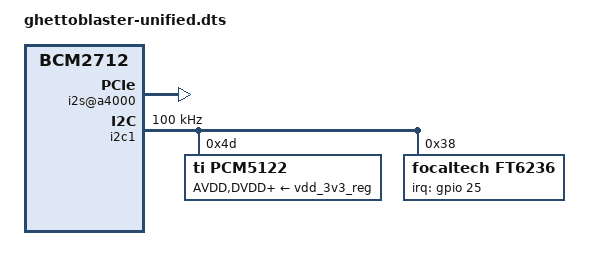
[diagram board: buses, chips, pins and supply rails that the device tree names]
/dts-v1/;
/plugin/;

// Unified Ghettoblaster Overlay for Raspberry Pi 5
// Combines: HiFiBerry AMP100 + FT6236 Touch + Optimizations
//
// Hardware:
// - HiFiBerry AMP100 (PCM5122 DAC at I2C 0x4d)
// - FT6236 Touch Controller (I2C 0x38)
// - Waveshare 7.9" 400x1280 Display
//
// Features:
// - Auto-mute on AMP100
// - Stable I2C clock (100kHz)
// - Touch with correct orientation
// - No reset-gpio conflicts

/ {
    compatible = "brcm,bcm2712";

    // Fragment 0: Clock generator for PCM5122
    fragment@0 {
        target-path = "/";
        __overlay__ {
            dacpro_osc: dacpro_osc {
                compatible = "hifiberry,dacpro-clk";
                #clock-cells = <0>;
            };
        };
    };

    // Fragment 1: Enable I2S controller (Pi 5 specific)
    fragment@1 {
        target-path = "/axi/pcie@1000120000/rp1/i2s@a4000";
        __overlay__ {
            status = "okay";
        };
    };

    // Fragment 2: I2C1 configuration (stable clock + devices)
    fragment@2 {
        target = <&i2c1>;
        __overlay__ {
            #address-cells = <1>;
            #size-cells = <0>;
            status = "okay";
            clock-frequency = <100000>; // 100kHz for stability

            // PCM5122 DAC (HiFiBerry AMP100)
            pcm5122@4d {
                #sound-dai-cells = <0>;
                compatible = "ti,pcm5122";
                reg = <0x4d>;
                clocks = <&dacpro_osc>;
                AVDD-supply = <&vdd_3v3_reg>;
                DVDD-supply = <&vdd_3v3_reg>;
                CPVDD-supply = <&vdd_3v3_reg>;
                status = "okay";
            };

            // FT6236 Touch Controller
            ft6236@38 {
                compatible = "focaltech,ft6236";
                reg = <0x38>;
                interrupt-parent = <&gpio>;
                interrupts = <25 2>; // GPIO 25, falling edge
                touchscreen-size-x = <1280>;
                touchscreen-size-y = <400>;
                touchscreen-inverted-x;
                touchscreen-inverted-y;
                touchscreen-swapped-x-y;
                status = "okay";
            };
        };
    };

    // Fragment 3: Sound card definition
    fragment@3 {
        target-path = "/axi";
        __overlay__ {
            sound {
                compatible = "hifiberry,hifiberry-dacplus";
                i2s-controller = <&i2s>;
                status = "okay";
                // No reset-gpio - causes conflicts with touch
                // Auto-mute controlled via parameter below
            };
        };
    };

    // Override parameters (can be set in config.txt)
    __overrides__ {
        // Enable auto-mute: dtoverlay=ghettoblaster,auto_mute
        auto_mute = <&sound>,"hifiberry-dacplus,auto_mute?";
        
        // 24dB digital gain: dtoverlay=ghettoblaster,24db_digital_gain
        24db_digital_gain = <&sound>,"hifiberry,24db_digital_gain?";
        
        // Disable LEDs: dtoverlay=ghettoblaster,leds_off
        leds_off = <&sound>,"hifiberry-dacplus,leds_off?";
        
        // External mute control: dtoverlay=ghettoblaster,mute_ext_ctl=<gpio>
        mute_ext_ctl = <&sound>,"hifiberry-dacplus,mute_ext_ctl:0";
    };
};
